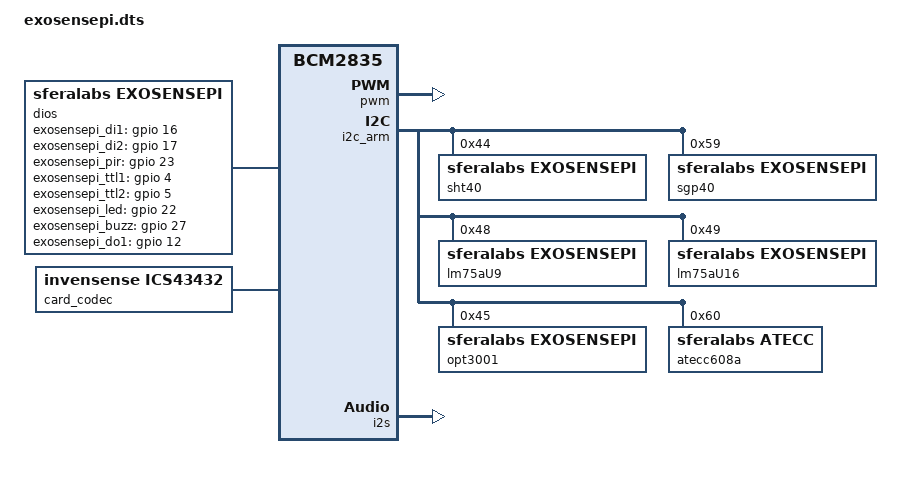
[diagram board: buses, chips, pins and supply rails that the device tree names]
/dts-v1/;
/plugin/;

/ {
	compatible = "brcm,bcm2835";
	
	fragment@0 {
		target-path = "/";
		__overlay__ {
			dios: dios@0 {
				compatible = "sferalabs,exosensepi";
				pinctrl-names = "default";
				pinctrl-0 = <&dios_pins>;
				status = "okay";
				
				exosensepi_di1-gpios = <&gpio 16 0>;
				exosensepi_di2-gpios = <&gpio 17 0>;
				exosensepi_pir-gpios = <&gpio 23 0>;
				exosensepi_ttl1-gpios = <&gpio 4 0>;
				exosensepi_ttl2-gpios = <&gpio 5 0>;
				exosensepi_led-gpios = <&gpio 22 0>;
				exosensepi_buzz-gpios = <&gpio 27 0>;
				exosensepi_do1-gpios = <&gpio 12 0>;
			};
		};
	};
	
	fragment@1 {
		target = <&gpio>;
		__overlay__ {
			dios_pins: dios_pins {
				brcm,pins = <16 17 23>;
				brcm,function = <0>; /* in */
				brcm,pull = <0>; /* no pull */
			};
			
			buzz_pwm: buzz_pwm {
				/* PWM1: 13,4(Alt0) */
				brcm,pins = <13>;
				brcm,function = <4>; 
			};
		};
	};
	
	fragment@2 {
		target = <&pwm>;
		__overlay__ {
			pinctrl-names = "default";
			pinctrl-0 = <&buzz_pwm>;
			assigned-clock-rates = <100000000>;
			status = "okay";
		};
	};
	
	fragment@3 {
		target = <&i2c_arm>;
		__overlay__ {
			#address-cells = <1>;
			#size-cells = <0>;
			status = "okay";
			
			sht40: sht40@44 {
				compatible = "sferalabs,exosensepi";
				reg = <0x44>;
				status = "okay";
			};
			
			sgp40: sgp40@59 {
				compatible = "sferalabs,exosensepi";
				reg = <0x59>;
				status = "okay";
			};
			
			lm75aU9: lm75aU9@48 {
				compatible = "sferalabs,exosensepi";
				reg = <0x48>;
				status = "okay";
			};
			
			lm75aU16: lm75aU9@49 {
				compatible = "sferalabs,exosensepi";
				reg = <0x49>;
				status = "okay";
			};
			
			opt3001: opt3001@45 {
				compatible = "sferalabs,exosensepi";
				reg = <0x45>;
				status = "okay";
			};
			
			atecc608a: atecc608a@60 {
				compatible = "sferalabs,atecc";
				reg = <0x60>;
				status = "okay";
			};
		};
	};
	
	fragment@4 {
		target = <&i2s>;
		__overlay__ {
			status = "okay";
		};
	};
	
	fragment@5 {
		target-path = "/";
		__overlay__ {
			card_codec: card-codec {
				#sound-dai-cells = <0>;
				compatible = "invensense,ics43432";
				status = "okay";
			};
		};
	};

	fragment@6 {
		target = <&sound>;
		__overlay__ {
			compatible = "simple-audio-card";
			simple-audio-card,format = "i2s";
			simple-audio-card,name = "exosensepi-mic";
			status = "okay";
			simple-audio-card,cpu {
				sound-dai = <&i2s>;
			};
			dailink0_slave: simple-audio-card,codec {
				sound-dai = <&card_codec>;
			};
		};
	};
};
